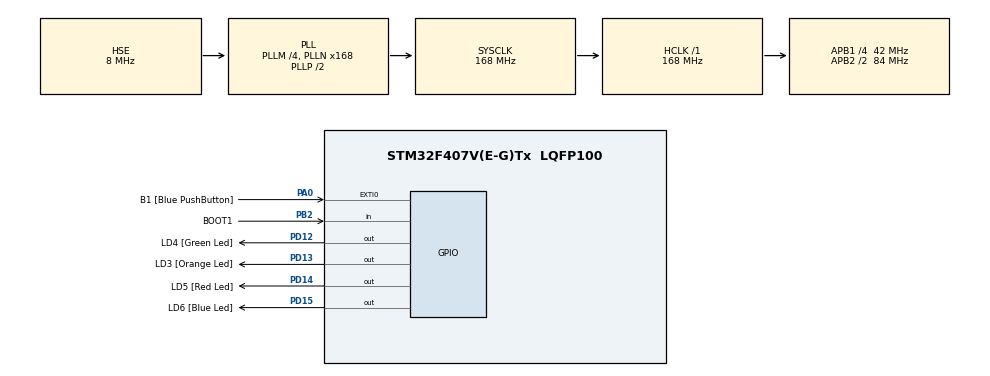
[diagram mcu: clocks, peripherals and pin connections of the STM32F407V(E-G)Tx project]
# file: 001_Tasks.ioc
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Mcu.Family=STM32F4
Mcu.Name=STM32F407V(E-G)Tx
Mcu.Package=LQFP100
NVIC.PriorityGroup=NVIC_PRIORITYGROUP_4
NVIC.TIM6_DAC_IRQn=true\:0\:0\:false\:false\:true\:false\:true\:true
NVIC.TimeBase=TIM6_DAC_IRQn
NVIC.TimeBaseIP=TIM6
PA0-WKUP.GPIO_Label=B1 [Blue PushButton]
PA0-WKUP.Signal=GPXTI0
PA13.GPIO_Label=SWDIO
PA13.Mode=Trace_Asynchronous_SW
PA13.Signal=SYS_JTMS-SWDIO
PA14.GPIO_Label=SWCLK
PA14.Mode=Trace_Asynchronous_SW
PA14.Signal=SYS_JTCK-SWCLK
PB2.GPIO_Label=BOOT1
PB2.GPIO_Mode=GPIO_MODE_INPUT
PB2.GPIO_PuPd=GPIO_NOPULL
PB2.Signal=GPIO_Input
PB3.GPIO_Label=SWO
PB3.Mode=Trace_Asynchronous_SW
PB3.Signal=SYS_JTDO-SWO
PD12.GPIO_Label=LD4 [Green Led]
PD12.GPIO_PuPd=GPIO_NOPULL
PD12.GPIO_Speed=GPIO_SPEED_FREQ_LOW
PD12.Signal=GPIO_Output
PD13.GPIO_Label=LD3 [Orange Led]
PD13.GPIO_PuPd=GPIO_NOPULL
PD13.GPIO_Speed=GPIO_SPEED_FREQ_LOW
PD13.Signal=GPIO_Output
PD14.GPIO_Label=LD5 [Red Led]
PD14.GPIO_PuPd=GPIO_NOPULL
PD14.GPIO_Speed=GPIO_SPEED_FREQ_LOW
PD14.Signal=GPIO_Output
PD15.GPIO_Label=LD6 [Blue Led]
PD15.GPIO_PuPd=GPIO_NOPULL
PD15.GPIO_Speed=GPIO_SPEED_FREQ_LOW
PD15.Signal=GPIO_Output
PH0-OSC_IN.GPIO_Label=PH0-OSC_IN
PH0-OSC_IN.Mode=HSE-External-Oscillator
PH0-OSC_IN.Signal=RCC_OSC_IN
PH1-OSC_OUT.GPIO_Label=PH1-OSC_OUT
PH1-OSC_OUT.Mode=HSE-External-Oscillator
PH1-OSC_OUT.Signal=RCC_OSC_OUT
ProjectManager.HeapSize=0x200
ProjectManager.StackSize=0x400
ProjectManager.TargetToolchain=CMake
RCC.48MHZClocksFreq_Value=48000000
RCC.AHBFreq_Value=168000000
RCC.APB1CLKDivider=RCC_HCLK_DIV4
RCC.APB1Freq_Value=42000000
RCC.APB1TimFreq_Value=84000000
RCC.APB2CLKDivider=RCC_HCLK_DIV2
RCC.APB2Freq_Value=84000000
RCC.APB2TimFreq_Value=168000000
RCC.CortexFreq_Value=168000000
RCC.HCLKFreq_Value=168000000
RCC.HSE_VALUE=8000000
RCC.HSI_VALUE=16000000
RCC.LSE_VALUE=32768
RCC.PLLM=4
RCC.PLLN=168
RCC.PLLQ=7
RCC.PLLSourceVirtual=RCC_PLLSOURCE_HSE
RCC.SYSCLKFreq_VALUE=168000000
RCC.SYSCLKSource=RCC_SYSCLKSOURCE_PLLCLK
RCC.VCOOutputFreq_Value=336000000
VP_SYS_VS_tim6.Mode=TIM6
board=STM32F407G-DISC1

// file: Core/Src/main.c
/* USER CODE BEGIN Header */
/**
  ******************************************************************************
  * @file           : main.c
  * @brief          : Main program body
  ******************************************************************************
  * @attention
  *
  * Copyright (c) 2026 STMicroelectronics.
  * All rights reserved.
  *
  * This software is licensed under terms that can be found in the LICENSE file
  * in the root directory of this software component.
  * If no LICENSE file comes with this software, it is provided AS-IS.
  *
  ******************************************************************************
  */
/* USER CODE END Header */
#include "main.h"

/* USER CODE BEGIN Includes */
#include "FreeRTOS.h"
#include "task.h"
#include <stdio.h>
/* USER CODE END Includes */

void SystemClock_Config(void);
static void MX_GPIO_Init(void);
/* USER CODE BEGIN PFP */
static void task1_handler(void* params);
static void task2_handler(void* params);
extern void SEGGER_UART_init(U32 baud);
/* USER CODE END PFP */

int main(void)
{

  /* USER CODE BEGIN 1 */
  TaskHandle_t task1_handle;
  TaskHandle_t task2_handle;
  BaseType_t status = pdFALSE;
  /* USER CODE END 1 */

  /* MCU Configuration--------------------------------------------------------*/

  /* Reset of all peripherals, Initializes the Flash interface and the Systick. */
  HAL_Init();

  /* Configure the system clock */
  SystemClock_Config();

  /* USER CODE BEGIN SysInit */
  DWT->CTRL |= ( 1 << 0);
  /* USER CODE END SysInit */

  /* Initialize all configured peripherals */
  MX_GPIO_Init();
  /* USER CODE BEGIN 2 */

  SEGGER_UART_init(500000);
  SEGGER_SYSVIEW_Conf();
  //SEGGER_SYSVIEW_Start();

  status = xTaskCreate(task1_handler, "Task1", 200, "Hello world from Task-1", 2, &task1_handle);
  configASSERT(status == pdPASS);

  status = xTaskCreate(task2_handler, "Task2", 200, "Hello world from Task-2", 2, &task2_handle);
  configASSERT(status == pdPASS);

  // Start the FreeRTOS scheduler
  vTaskStartScheduler();
  // We will never return unless there is insufficient memory in the heap.

  /* USER CODE END 2 */

  /* Infinite loop */
  while (1)
  {

  }
}

void SystemClock_Config(void)
{
  RCC_OscInitTypeDef RCC_OscInitStruct = {0};
  RCC_ClkInitTypeDef RCC_ClkInitStruct = {0};

  /** Configure the main internal regulator output voltage
  */
  __HAL_RCC_PWR_CLK_ENABLE();
  __HAL_PWR_VOLTAGESCALING_CONFIG(PWR_REGULATOR_VOLTAGE_SCALE1);

  /** Initializes the RCC Oscillators according to the specified parameters
  * in the RCC_OscInitTypeDef structure.
  */
  RCC_OscInitStruct.OscillatorType = RCC_OSCILLATORTYPE_HSE;
  RCC_OscInitStruct.HSEState = RCC_HSE_ON;
  RCC_OscInitStruct.PLL.PLLState = RCC_PLL_ON;
  RCC_OscInitStruct.PLL.PLLSource = RCC_PLLSOURCE_HSE;
  RCC_OscInitStruct.PLL.PLLM = 4;
  RCC_OscInitStruct.PLL.PLLN = 168;
  RCC_OscInitStruct.PLL.PLLP = RCC_PLLP_DIV2;
  RCC_OscInitStruct.PLL.PLLQ = 7;
  if (HAL_RCC_OscConfig(&RCC_OscInitStruct) != HAL_OK)
  {
    Error_Handler();
  }

  /** Initializes the CPU, AHB and APB buses clocks
  */
  RCC_ClkInitStruct.ClockType = RCC_CLOCKTYPE_HCLK|RCC_CLOCKTYPE_SYSCLK
                              |RCC_CLOCKTYPE_PCLK1|RCC_CLOCKTYPE_PCLK2;
  RCC_ClkInitStruct.SYSCLKSource = RCC_SYSCLKSOURCE_PLLCLK;
  RCC_ClkInitStruct.AHBCLKDivider = RCC_SYSCLK_DIV1;
  RCC_ClkInitStruct.APB1CLKDivider = RCC_HCLK_DIV4;
  RCC_ClkInitStruct.APB2CLKDivider = RCC_HCLK_DIV2;

  if (HAL_RCC_ClockConfig(&RCC_ClkInitStruct, FLASH_LATENCY_5) != HAL_OK)
  {
    Error_Handler();
  }
}

static void MX_GPIO_Init(void)
{
  GPIO_InitTypeDef GPIO_InitStruct = {0};

  /* GPIO Ports Clock Enable */
  __HAL_RCC_GPIOH_CLK_ENABLE();
  __HAL_RCC_GPIOA_CLK_ENABLE();
  __HAL_RCC_GPIOB_CLK_ENABLE();
  __HAL_RCC_GPIOD_CLK_ENABLE();

  /*Configure GPIO pin Output Level */
  HAL_GPIO_WritePin(GPIOD, LD4_Pin|LD3_Pin|LD5_Pin|LD6_Pin, GPIO_PIN_RESET);

  /*Configure GPIO pin : B1_Pin */
  GPIO_InitStruct.Pin = B1_Pin;
  GPIO_InitStruct.Mode = GPIO_MODE_IT_RISING;
  GPIO_InitStruct.Pull = GPIO_NOPULL;
  HAL_GPIO_Init(B1_GPIO_Port, &GPIO_InitStruct);

  /*Configure GPIO pin : BOOT1_Pin */
  GPIO_InitStruct.Pin = BOOT1_Pin;
  GPIO_InitStruct.Mode = GPIO_MODE_INPUT;
  GPIO_InitStruct.Pull = GPIO_NOPULL;
  HAL_GPIO_Init(BOOT1_GPIO_Port, &GPIO_InitStruct);

  /*Configure GPIO pins : LD4_Pin LD3_Pin LD5_Pin LD6_Pin */
  GPIO_InitStruct.Pin = LD4_Pin|LD3_Pin|LD5_Pin|LD6_Pin;
  GPIO_InitStruct.Mode = GPIO_MODE_OUTPUT_PP;
  GPIO_InitStruct.Pull = GPIO_NOPULL;
  GPIO_InitStruct.Speed = GPIO_SPEED_FREQ_LOW;
  HAL_GPIO_Init(GPIOD, &GPIO_InitStruct);

}

/* USER CODE BEGIN 4 */
static void task1_handler(void* params)
{
  char msg[100];

  while (1)
  {
    snprintf(msg, 100, "%s\n", (char *)params);
    SEGGER_SYSVIEW_PrintfTarget(msg);
    taskYIELD();
  }
}

static void task2_handler(void* params)
{
  char msg[100];

  while (1)
  {
    snprintf(msg, 100, "%s\n", (char *)params);
    SEGGER_SYSVIEW_PrintfTarget(msg);
    taskYIELD();
  }
}
/* USER CODE END 4 */

void HAL_TIM_PeriodElapsedCallback(TIM_HandleTypeDef *htim)
{
  if (htim->Instance == TIM6)
  {
    HAL_IncTick();
  }
}

void Error_Handler(void)
{
  __disable_irq();
  while (1)
  {
  }
}
